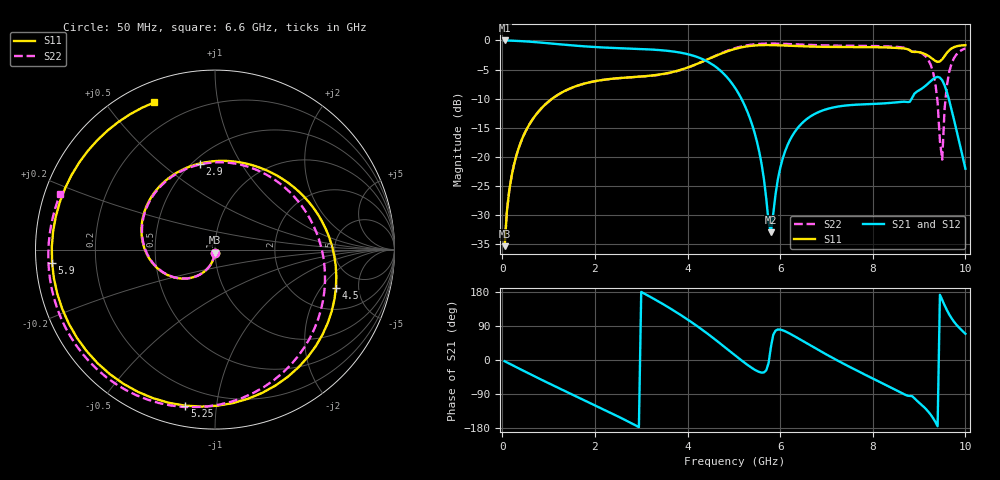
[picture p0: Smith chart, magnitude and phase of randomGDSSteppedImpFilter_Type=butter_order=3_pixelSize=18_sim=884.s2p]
! freq	dB(S11)	phase(S11)	dB(S12)	phase(S12)
!  dB(S21)	phase(S21)	dB(S22)	phase(S22)
!S-par simulation data
#  GHz  S  DB  R 50
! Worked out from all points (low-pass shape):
!   200 points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, 50 MHz to 10 GHz, reference 50 ohm
!   highest |S21| = 0.00 dB at 50 MHz (marker M1); lowest = -32.9 dB at 5.8 GHz (marker M2)
!   |S21| within 3 dB of the highest: start of sweep to 4.262 GHz
!   lowest |S11| = -35.3 dB at 50 MHz (marker M3), VSWR 1.03, Z = 49.9 - j1.71 ohm
!   |S11| at or under -10 dB: start of sweep to 1.077 GHz
!   |S22| runs from -35.3 to -0.5 dB; largest |S21 - S12| = 0
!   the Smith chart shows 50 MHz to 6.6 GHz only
!   S11 on the Smith chart (normalised r, x): 50 MHz: 1.00, -0.03; 2.9 GHz: 0.54, +0.68; 4.5 GHz: 3.31, -2.80; 5.25 GHz: 0.10, -0.82; 5.9 GHz: 0.05, -0.04; 6.6 GHz: 0.09, +0.66
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0.05  -35.31 -93.0  -0.00 -3.2  -0.00 -3.2  -35.30 -93.0
0.2  -23.31 -102.8  -0.04 -12.5  -0.04 -12.5  -23.32 -102.8
0.5  -15.64 -121.8  -0.16 -31.1  -0.16 -31.1  -15.66 -121.6
1.1  -9.86 -157.5  -0.56 -67.1  -0.56 -67.1  -9.88 -157.9
1.75  -7.46 165.3  -1.00 -104.9  -1.00 -104.9  -7.46 163.7
2.9  -6.25 100.2  -1.44 -173.9  -1.44 -173.9  -6.27 91.0
3.4  -5.85 69.8  -1.66 152.5  -1.66 152.5  -5.89 54.2
4  -4.65 27.3  -2.35 106.9  -2.35 106.9  -4.69 5.2
4.5  -3.02 -17.5  -3.94 63.1  -3.94 63.1  -2.99 -38.7
5.05  -1.40 -77.6  -8.43 10.0  -8.43 10.0  -1.27 -88.3
5.25  -1.06 -101.0  -11.44 -8.9  -11.44 -8.9  -0.89 -105.8
5.55  -0.82 -136.0  -19.15 -31.7  -19.15 -31.7  -0.59 -130.4
5.8  -0.80 -164.4  -32.92 33.9  -32.92 33.9  -0.54 -149.1
5.9  -0.81 -175.5  -26.43 77.5  -26.43 77.5  -0.55 -156.2
6.6  -1.04 112.5  -13.34 42.2  -13.34 42.2  -0.76 160.4
6.7  -1.06 103.1  -12.82 35.2  -12.82 35.2  -0.79 154.8
7.55  -1.13 31.9  -11.08 -21.3  -11.08 -21.3  -0.93 109.7
8.35  -1.22 -21.0  -10.74 -69.9  -10.74 -69.9  -1.03 67.2
9.25  -2.92 -66.4  -6.99 -144.1  -6.99 -144.1  -4.16 -0.9
9.5  -3.24 -61.8  -6.85 158.3  -6.85 158.3  -20.46 72.2
9.65  -1.70 -66.1  -10.27 120.4  -10.27 120.4  -5.41 74.8
10  -0.82 -87.2  -22.01 69.3  -22.01 69.3  -1.37 33.3
